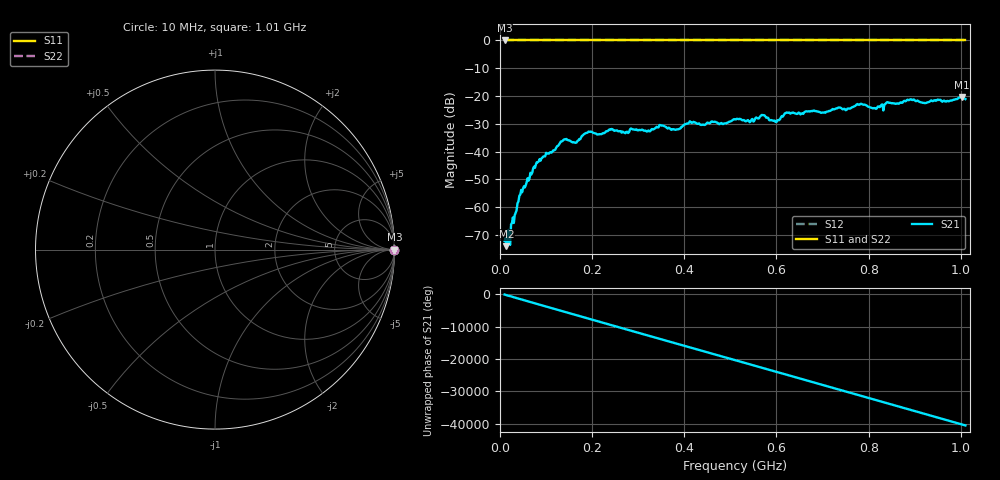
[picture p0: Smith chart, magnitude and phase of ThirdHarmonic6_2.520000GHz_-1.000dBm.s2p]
! 8/17/2025 4:57:31 AM
! C:\ANRITSUVNA\TEMP\TEMP.S2P
! CHANNEL.1
! TR.MEASUREMENT
! RAW.DATA
! RF.CORRECTION.OFF
! AVERAGING.OFF
! IF.BANDWIDTH: 5KHZ
! SWEEPTYPE:  FREQ.SWEEP(Linear)
! Reference Plane Port Info
! PORT:  PORT1  PORT2
! DISTANCE:  0  m  0  m
! TIME:  0  s  0  s
! PHASE.OFFSET:  0  deg.  0  deg.
! LOSS:  0  dB  0  dB
! REF.LOSS:  0  dB  0  dB
! REF.FREQ:  0  Hz  0  Hz
! Power Info
! POWER:  -20  dBm  -20  dBm
! EFF.POWER:  -20  dBm  -20  dBm
! SOURCE.ATTEN:  0  dB  0  dB
! TEST.ATTEN:  0  dB  0  dB
# GHZ S RI R 50.0
! FREQ.GHZ  S11RE  S11IM  S21RE  S21IM  S12RE  S12IM  S22RE  S22IM
!; PortSelection: Port_12
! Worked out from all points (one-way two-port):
!   501 points, 10 MHz to 1.01 GHz, reference 50 ohm
!   highest |S21| = -20.37 dB at 1.002 GHz (marker M1); lowest = -74.0 dB at 14 MHz (marker M2)
!   lowest |S11| = 0.0 dB at 10 MHz (marker M3)
!   |S11| at or under -10 dB: nowhere
!   |S22| runs from 0.0 to 0.0 dB; largest |S21 - S12| = 1.1
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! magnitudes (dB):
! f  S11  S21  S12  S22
! 10 MHz  0.0  -72.1  0.0  0.0
! 14 MHz  0.0  -74.0  0.0  0.0
! 18 MHz  0.0  -68.2  0.0  0.0
! 46 MHz  0.0  -53.7  0.0  0.0
! 82 MHz  0.0  -43.8  0.0  0.0
! 136 MHz  0.0  -36.1  0.0  0.0
! 162 MHz  0.0  -36.7  0.0  0.0
! 178 MHz  0.0  -34.3  0.0  0.0
! 344 MHz  0.0  -31.3  0.0  0.0
! 384 MHz  0.0  -31.9  0.0  0.0
! 416 MHz  0.0  -29.7  0.0  0.0
! 510 MHz  0.0  -28.4  0.0  0.0
! 546 MHz  0.0  -28.4  0.0  0.0
! 570 MHz  0.0  -26.8  0.0  0.0
! 598 MHz  0.0  -29.3  0.0  0.0
! 622 MHz  0.0  -25.9  0.0  0.0
! 678 MHz  0.0  -25.4  0.0  0.0
! 780 MHz  0.0  -23.1  0.0  0.0
! 814 MHz  0.0  -24.4  0.0  0.0
! 844 MHz  0.0  -22.4  0.0  0.0
! 1.002 GHz  0.0  -20.4  0.0  0.0
! 1.01 GHz  0.0  -21.1  0.0  0.0
